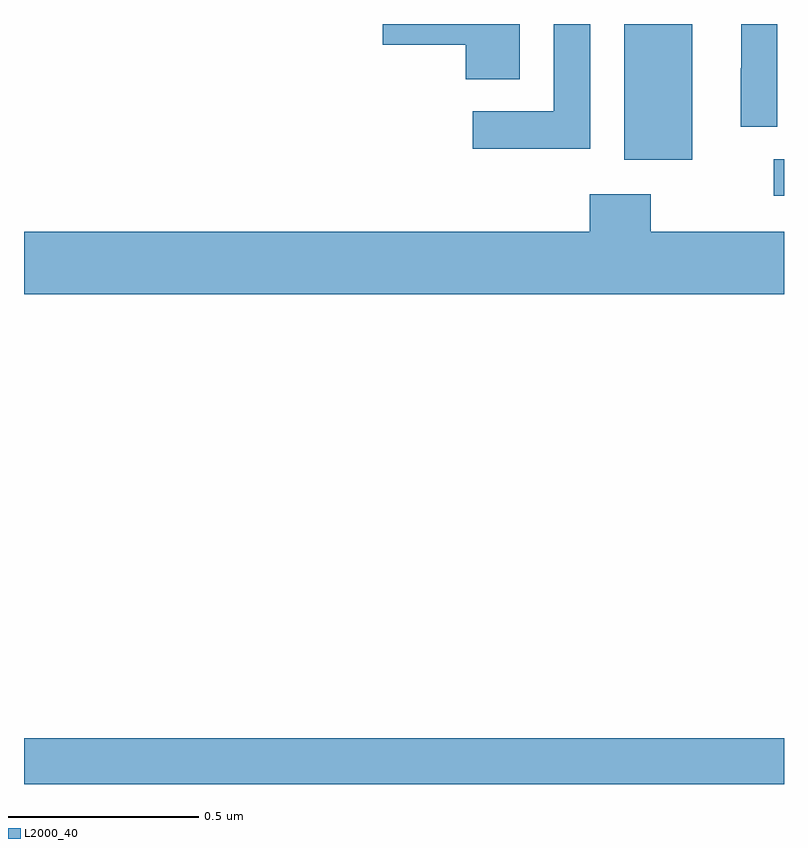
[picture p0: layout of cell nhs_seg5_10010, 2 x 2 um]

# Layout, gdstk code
import gdstk
lib = gdstk.Library(unit=1e-6, precision=1e-09)
def R(c, l, rs):  # rectangles x0, y0, x1, y1
    for r in rs: c.add(gdstk.rectangle(r[:2], r[2:], *l))
def P(c, l, *ps):  # polygons
    for p in ps: c.add(gdstk.Polygon(p, *l))
L2000_40 = (2000, 40)

nhs_seg5_10010 = lib.new_cell('nhs_seg5_10010')
R(nhs_seg5_10010, L2000_40, [(241,860.799,243,860.92), (242.973,862.347,243,862.443), (242.579,862.442,242.758,862.799)])
P(nhs_seg5_10010, L2000_40, [(242.49,862.799),(242.394,862.799),(242.394,862.569),(242.181,862.569),(242.181,862.471),(242.49,862.471)],
  [(242.982,862.799),(242.888,862.799),(242.888,862.682),(242.886,862.682),(242.886,862.528),(242.982,862.528)],
  [(242.305,862.799),(241.944,862.799),(241.944,862.745),(242.162,862.745),(242.162,862.654),(242.305,862.654)],
  [(243,862.252),(242.649,862.252),(242.649,862.351),(242.489,862.351),(242.489,862.252),(241,862.252),(241,862.088),(243,862.088)])

lib.write_gds('nhs_seg5_10010.gds')
